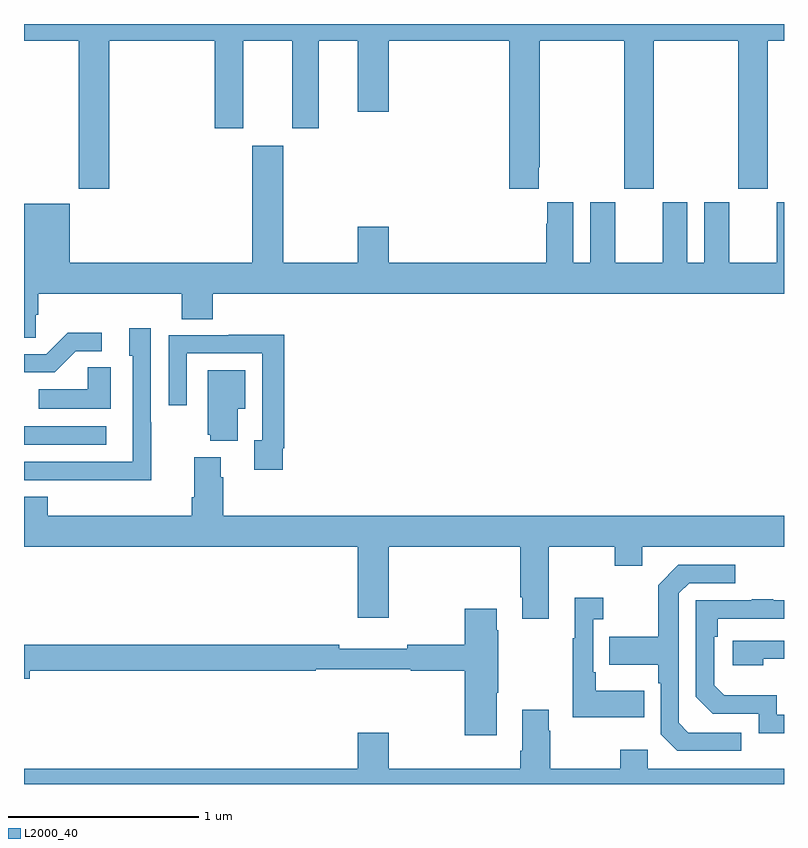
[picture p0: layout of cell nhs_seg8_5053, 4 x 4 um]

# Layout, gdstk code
import gdstk
lib = gdstk.Library(unit=1e-6, precision=1e-09)
def R(c, l, rs):  # rectangles x0, y0, x1, y1
    for r in rs: c.add(gdstk.rectangle(r[:2], r[2:], *l))
def P(c, l, *ps):  # polygons
    for p in ps: c.add(gdstk.Polygon(p, *l))
L2000_40 = (2000, 40)

nhs_seg8_5053 = lib.new_cell('nhs_seg8_5053')
R(nhs_seg8_5053, L2000_40, [(415,1135.686,415.432,1135.782)])
P(nhs_seg8_5053, L2000_40, [(415.448,1137.812),(416.003,1137.812),(416.003,1137.351),(416.155,1137.351),(416.155,1137.812),(416.411,1137.812),(416.411,1137.351),(416.551,1137.351),(416.551,1137.812),(416.756,1137.812),(416.756,1137.438),(416.92,1137.438),(416.92,1137.812),(417.554,1137.812),(417.554,1137.033),(417.709,1137.033),(417.709,1137.145),(417.714,1137.145),(417.714,1137.812),(418.159,1137.812),(418.159,1137.033),(418.314,1137.033),(418.314,1137.812),(418.759,1137.812),(418.759,1137.033),(418.914,1137.033),(418.914,1137.812),(419,1137.812),(419,1137.9),(415,1137.9),(415,1137.812),(415.288,1137.812),(415.288,1137.033),(415.448,1137.033)],
  [(415.062,1136.371),(415.076,1136.371),(415.076,1136.48),(415.829,1136.48),(415.829,1136.347),(415.994,1136.347),(415.994,1136.48),(419,1136.48),(419,1136.962),(418.961,1136.962),(418.961,1136.644),(418.711,1136.644),(418.711,1136.962),(418.58,1136.962),(418.58,1136.644),(418.492,1136.644),(418.492,1136.962),(418.361,1136.962),(418.361,1136.644),(418.111,1136.644),(418.111,1136.962),(417.98,1136.962),(417.98,1136.644),(417.892,1136.644),(417.892,1136.962),(417.755,1136.962),(417.755,1136.849),(417.749,1136.849),(417.749,1136.644),(416.92,1136.644),(416.92,1136.833),(416.756,1136.833),(416.756,1136.644),(416.365,1136.644),(416.365,1137.259),(416.201,1137.259),(416.201,1136.644),(415.24,1136.644),(415.24,1136.953),(415,1136.953),(415,1136.248),(415.062,1136.248)],
  [(415.671,1135.805),(415.668,1135.805),(415.668,1136.299),(415.553,1136.299),(415.553,1136.154),(415.572,1136.154),(415.572,1135.596),(415,1135.596),(415,1135.5),(415.207,1135.5),(415.207,1135.499),(415.671,1135.499)],
  [(415.273,1136.178),(415.408,1136.178),(415.408,1136.276),(415.229,1136.276),(415.116,1136.163),(415,1136.163),(415,1136.067),(415.162,1136.067)],
  [(416.362,1135.666),(416.369,1135.666),(416.369,1136.264),(416.077,1136.264),(416.077,1136.262),(415.761,1136.262),(415.761,1135.893),(415.857,1135.893),(415.857,1136.166),(416.253,1136.166),(416.253,1135.71),(416.213,1135.71),(416.213,1135.554),(416.362,1135.554)],
  [(415.456,1136.093),(415.335,1136.093),(415.335,1135.978),(415.078,1135.978),(415.078,1135.874),(415.456,1135.874)],
  [(416.125,1135.874),(416.164,1135.874),(416.164,1136.077),(415.967,1136.077),(415.967,1135.737),(415.979,1135.737),(415.979,1135.706),(416.125,1135.706)],
  [(417.763,1135.148),(418.108,1135.148),(418.108,1135.049),(418.255,1135.049),(418.255,1135.148),(419,1135.148),(419,1135.312),(416.048,1135.312),(416.048,1135.514),(416.035,1135.514),(416.035,1135.621),(415.895,1135.621),(415.895,1135.408),(415.883,1135.408),(415.883,1135.312),(415.124,1135.312),(415.124,1135.411),(415,1135.411),(415,1135.148),(416.756,1135.148),(416.756,1134.774),(416.92,1134.774),(416.92,1135.148),(417.611,1135.148),(417.611,1134.883),(417.623,1134.883),(417.623,1134.771),(417.763,1134.771)],
  [(418.774,1134.171),(418.497,1134.171),(418.446,1134.222),(418.446,1134.903),(418.5,1134.957),(418.744,1134.957),(418.744,1135.053),(418.443,1135.053),(418.338,1134.947),(418.338,1134.675),(418.081,1134.675),(418.081,1134.527),(418.338,1134.527),(418.338,1134.431),(418.35,1134.431),(418.35,1134.162),(418.437,1134.075),(418.774,1134.075)],
  [(418.265,1134.391),(418.009,1134.391),(418.009,1134.487),(417.996,1134.487),(417.996,1134.767),(418.048,1134.767),(418.048,1134.88),(417.899,1134.88),(417.899,1134.667),(417.888,1134.667),(417.888,1134.251),(418.265,1134.251)],
  [(419,1134.264),(418.962,1134.264),(418.962,1134.367),(418.685,1134.367),(418.632,1134.42),(418.632,1134.674),(418.652,1134.674),(418.652,1134.771),(419,1134.771),(419,1134.867),(418.943,1134.867),(418.943,1134.872),(418.831,1134.872),(418.831,1134.867),(418.536,1134.867),(418.536,1134.36),(418.626,1134.27),(418.866,1134.27),(418.866,1134.168),(419,1134.168)],
  [(417.487,1134.379),(417.495,1134.379),(417.495,1134.71),(417.487,1134.71),(417.487,1134.823),(417.32,1134.823),(417.32,1134.632),(417.016,1134.632),(417.016,1134.613),(416.66,1134.613),(416.66,1134.632),(415,1134.632),(415,1134.454),(415.03,1134.454),(415.03,1134.496),(416.536,1134.496),(416.536,1134.504),(417.036,1134.504),(417.036,1134.496),(417.32,1134.496),(417.32,1134.156),(417.487,1134.156)],
  [(418.892,1134.558),(419,1134.558),(419,1134.654),(418.731,1134.654),(418.731,1134.524),(418.892,1134.524)],
  [(419,1133.98),(418.284,1133.98),(418.284,1134.079),(418.138,1134.079),(418.138,1133.98),(417.771,1133.98),(417.771,1134.179),(417.763,1134.179),(417.763,1134.292),(417.623,1134.292),(417.623,1134.076),(417.611,1134.076),(417.611,1133.98),(416.92,1133.98),(416.92,1134.169),(416.756,1134.169),(416.756,1133.98),(415,1133.98),(415,1133.9),(419,1133.9)])

lib.write_gds('nhs_seg8_5053.gds')
